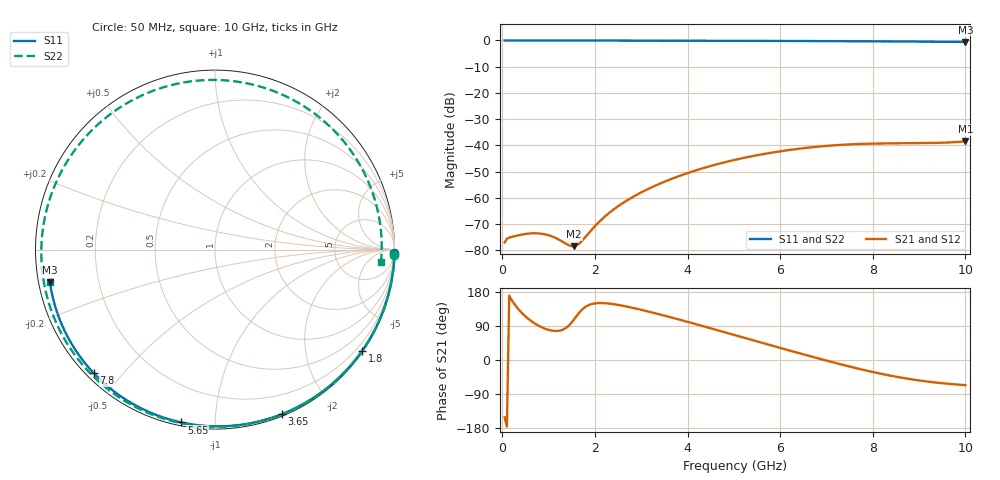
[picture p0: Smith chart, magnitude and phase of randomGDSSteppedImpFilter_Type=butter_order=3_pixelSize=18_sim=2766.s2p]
! freq	dB(S11)	phase(S11)	dB(S12)	phase(S12)
!  dB(S21)	phase(S21)	dB(S22)	phase(S22)
!S-par simulation data
#  GHz  S  DB  R 50
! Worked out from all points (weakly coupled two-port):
!   200 points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, 50 MHz to 10 GHz, reference 50 ohm
!   highest |S21| = -38.50 dB at 10 GHz (marker M1); lowest = -78.5 dB at 1.55 GHz (marker M2)
!   lowest |S11| = -0.6 dB at 10 GHz (marker M3), VSWR 30.90, Z = 1.63 - j4.86 ohm
!   |S11| at or under -10 dB: nowhere
!   |S22| runs from -0.7 to 0.0 dB; largest |S21 - S12| = 0
!   S11 on the Smith chart (normalised r, x): 50 MHz: open; 1.8 GHz: 0.03, -3.22; 3.65 GHz: 0.02, -1.49; 5.65 GHz: 0.02, -0.82; 7.8 GHz: 0.02, -0.42; 10 GHz: 0.03, -0.10
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0.05  -0.00 -1.0  -77.06 -151.4  -77.06 -151.4  -0.00 -1.7
0.2  -0.00 -3.9  -74.94 158.9  -74.94 158.9  -0.00 -6.7
0.75  -0.02 -14.5  -73.55 92.7  -73.55 92.7  -0.03 -25.0
1.05  -0.02 -20.3  -74.59 78.0  -74.59 78.0  -0.04 -34.9
1.55  -0.04 -29.8  -78.46 107.2  -78.46 107.2  -0.06 -51.1
1.75  -0.04 -33.5  -75.88 136.0  -75.88 136.0  -0.07 -57.6
1.8  -0.04 -34.5  -74.87 140.5  -74.87 140.5  -0.07 -59.2
2.1  -0.05 -40.0  -69.04 150.4  -69.04 150.4  -0.09 -68.7
2.45  -0.06 -46.5  -63.86 146.5  -63.86 146.5  -0.10 -79.8
3.4  -0.08 -63.5  -54.63 120.3  -54.63 120.3  -0.14 -109.5
3.65  -0.09 -67.8  -52.83 112.3  -52.83 112.3  -0.15 -117.3
4.4  -0.11 -80.6  -48.37 87.1  -48.37 87.1  -0.20 -140.9
5.05  -0.14 -91.4  -45.42 64.6  -45.42 64.6  -0.24 -162.1
5.65  -0.17 -101.0  -43.30 43.8  -43.30 43.8  -0.29 177.5
6.2  -0.20 -109.7  -41.77 25.0  -41.77 25.0  -0.34 157.5
6.7  -0.23 -117.5  -40.71 8.3  -40.71 8.3  -0.39 138.2
7.3  -0.27 -126.8  -39.83 -11.2  -39.83 -11.2  -0.44 113.5
7.8  -0.31 -134.4  -39.43 -26.1  -39.43 -26.1  -0.49 91.8
8.35  -0.36 -142.8  -39.25 -40.6  -39.25 -40.6  -0.53 67.1
9.2  -0.46 -156.0  -39.13 -57.2  -39.13 -57.2  -0.58 29.1
9.6  -0.51 -162.4  -38.94 -62.5  -38.94 -62.5  -0.61 12.1
10  -0.56 -168.9  -38.50 -66.3  -38.50 -66.3  -0.65 -4.1
